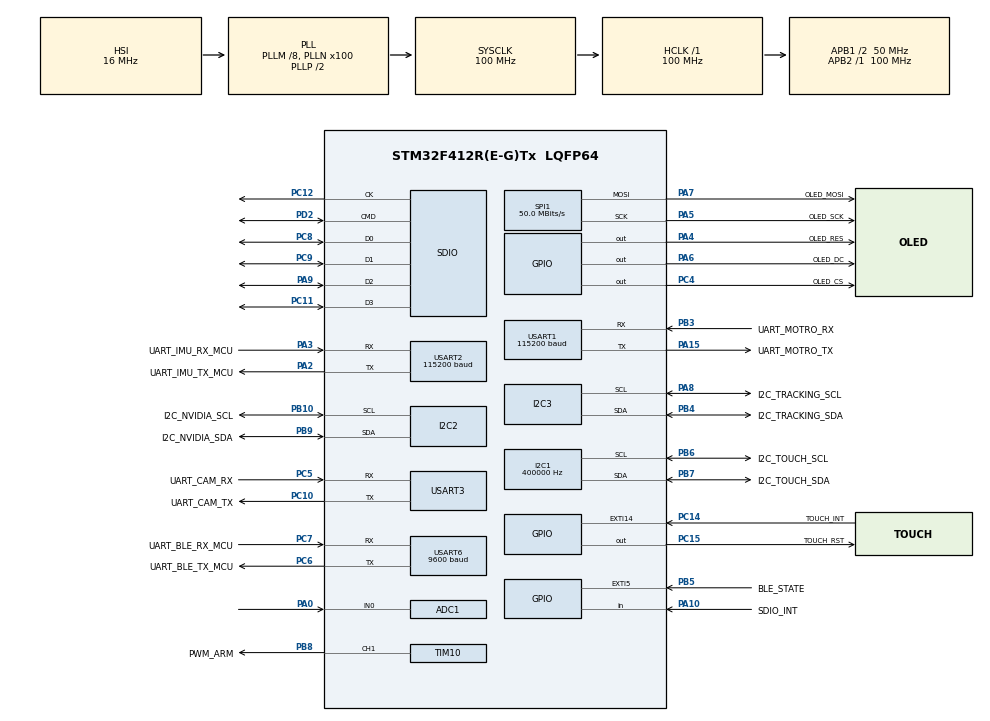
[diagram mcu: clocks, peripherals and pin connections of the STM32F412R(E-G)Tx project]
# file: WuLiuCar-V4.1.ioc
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ADC1.Channel-0\#ChannelRegularConversion=ADC_CHANNEL_0
ADC1.InjNumberOfConversion=0
ADC1.NbrOfConversion=1
ADC1.NbrOfConversionFlag=1
ADC1.Rank-0\#ChannelRegularConversion=1
ADC1.SamplingTime-0\#ChannelRegularConversion=ADC_SAMPLETIME_3CYCLES
ADC1.master=1
Dma.I2C3_RX.5.Direction=DMA_PERIPH_TO_MEMORY
Dma.I2C3_RX.5.FIFOMode=DMA_FIFOMODE_DISABLE
Dma.I2C3_RX.5.Instance=DMA1_Stream1
Dma.I2C3_RX.5.MemDataAlignment=DMA_MDATAALIGN_BYTE
Dma.I2C3_RX.5.MemInc=DMA_MINC_ENABLE
Dma.I2C3_RX.5.Mode=DMA_NORMAL
Dma.I2C3_RX.5.PeriphDataAlignment=DMA_PDATAALIGN_BYTE
Dma.I2C3_RX.5.PeriphInc=DMA_PINC_DISABLE
Dma.I2C3_RX.5.Priority=DMA_PRIORITY_LOW
Dma.I2C3_TX.6.Direction=DMA_MEMORY_TO_PERIPH
Dma.I2C3_TX.6.FIFOMode=DMA_FIFOMODE_DISABLE
Dma.I2C3_TX.6.Instance=DMA1_Stream4
Dma.I2C3_TX.6.MemDataAlignment=DMA_MDATAALIGN_BYTE
Dma.I2C3_TX.6.MemInc=DMA_MINC_ENABLE
Dma.I2C3_TX.6.Mode=DMA_NORMAL
Dma.I2C3_TX.6.PeriphDataAlignment=DMA_PDATAALIGN_BYTE
Dma.I2C3_TX.6.PeriphInc=DMA_PINC_DISABLE
Dma.I2C3_TX.6.Priority=DMA_PRIORITY_LOW
Dma.Request0=SPI1_TX
Dma.Request1=USART6_RX
Dma.Request2=USART6_TX
Dma.Request3=USART2_RX
Dma.Request4=SDIO
Dma.Request5=I2C3_RX
Dma.Request6=I2C3_TX
Dma.Request7=USART1_RX
Dma.Request8=USART1_TX
Dma.SDIO.4.Direction=DMA_PERIPH_TO_MEMORY
Dma.SDIO.4.FIFOMode=DMA_FIFOMODE_ENABLE
Dma.SDIO.4.FIFOThreshold=DMA_FIFO_THRESHOLD_FULL
Dma.SDIO.4.Instance=DMA2_Stream3
Dma.SDIO.4.MemBurst=DMA_MBURST_INC4
Dma.SDIO.4.MemDataAlignment=DMA_MDATAALIGN_WORD
Dma.SDIO.4.MemInc=DMA_MINC_ENABLE
Dma.SDIO.4.Mode=DMA_PFCTRL
Dma.SDIO.4.PeriphBurst=DMA_PBURST_INC4
Dma.SDIO.4.PeriphDataAlignment=DMA_PDATAALIGN_WORD
Dma.SDIO.4.PeriphInc=DMA_PINC_DISABLE
Dma.SDIO.4.Priority=DMA_PRIORITY_LOW
Dma.SPI1_TX.0.Direction=DMA_MEMORY_TO_PERIPH
Dma.SPI1_TX.0.FIFOMode=DMA_FIFOMODE_DISABLE
Dma.SPI1_TX.0.Instance=DMA2_Stream2
Dma.SPI1_TX.0.MemDataAlignment=DMA_MDATAALIGN_HALFWORD
Dma.SPI1_TX.0.MemInc=DMA_MINC_ENABLE
Dma.SPI1_TX.0.Mode=DMA_NORMAL
Dma.SPI1_TX.0.PeriphDataAlignment=DMA_PDATAALIGN_HALFWORD
Dma.SPI1_TX.0.PeriphInc=DMA_PINC_DISABLE
Dma.SPI1_TX.0.Priority=DMA_PRIORITY_LOW
Dma.USART1_RX.7.Direction=DMA_PERIPH_TO_MEMORY
Dma.USART1_RX.7.FIFOMode=DMA_FIFOMODE_DISABLE
Dma.USART1_RX.7.Instance=DMA2_Stream5
Dma.USART1_RX.7.MemDataAlignment=DMA_MDATAALIGN_BYTE
Dma.USART1_RX.7.MemInc=DMA_MINC_ENABLE
Dma.USART1_RX.7.Mode=DMA_NORMAL
Dma.USART1_RX.7.PeriphDataAlignment=DMA_PDATAALIGN_BYTE
Dma.USART1_RX.7.PeriphInc=DMA_PINC_DISABLE
Dma.USART1_RX.7.Priority=DMA_PRIORITY_VERY_HIGH
Dma.USART1_TX.8.Direction=DMA_MEMORY_TO_PERIPH
Dma.USART1_TX.8.FIFOMode=DMA_FIFOMODE_DISABLE
Dma.USART1_TX.8.Instance=DMA2_Stream7
Dma.USART1_TX.8.MemDataAlignment=DMA_MDATAALIGN_BYTE
Dma.USART1_TX.8.MemInc=DMA_MINC_ENABLE
Dma.USART1_TX.8.Mode=DMA_NORMAL
Dma.USART1_TX.8.PeriphDataAlignment=DMA_PDATAALIGN_BYTE
Dma.USART1_TX.8.PeriphInc=DMA_PINC_DISABLE
Dma.USART1_TX.8.Priority=DMA_PRIORITY_VERY_HIGH
Dma.USART2_RX.3.Direction=DMA_PERIPH_TO_MEMORY
Dma.USART2_RX.3.FIFOMode=DMA_FIFOMODE_DISABLE
Dma.USART2_RX.3.Instance=DMA1_Stream5
Dma.USART2_RX.3.MemDataAlignment=DMA_MDATAALIGN_BYTE
Dma.USART2_RX.3.MemInc=DMA_MINC_ENABLE
Dma.USART2_RX.3.Mode=DMA_CIRCULAR
Dma.USART2_RX.3.PeriphDataAlignment=DMA_PDATAALIGN_BYTE
Dma.USART2_RX.3.PeriphInc=DMA_PINC_DISABLE
Dma.USART2_RX.3.Priority=DMA_PRIORITY_LOW
Dma.USART6_RX.1.Direction=DMA_PERIPH_TO_MEMORY
Dma.USART6_RX.1.FIFOMode=DMA_FIFOMODE_DISABLE
Dma.USART6_RX.1.Instance=DMA2_Stream1
Dma.USART6_RX.1.MemDataAlignment=DMA_MDATAALIGN_BYTE
Dma.USART6_RX.1.MemInc=DMA_MINC_ENABLE
Dma.USART6_RX.1.Mode=DMA_NORMAL
Dma.USART6_RX.1.PeriphDataAlignment=DMA_PDATAALIGN_BYTE
Dma.USART6_RX.1.PeriphInc=DMA_PINC_DISABLE
Dma.USART6_RX.1.Priority=DMA_PRIORITY_LOW
Dma.USART6_TX.2.Direction=DMA_MEMORY_TO_PERIPH
Dma.USART6_TX.2.FIFOMode=DMA_FIFOMODE_DISABLE
Dma.USART6_TX.2.Instance=DMA2_Stream6
Dma.USART6_TX.2.MemDataAlignment=DMA_MDATAALIGN_BYTE
Dma.USART6_TX.2.MemInc=DMA_MINC_ENABLE
Dma.USART6_TX.2.Mode=DMA_NORMAL
Dma.USART6_TX.2.PeriphDataAlignment=DMA_PDATAALIGN_BYTE
Dma.USART6_TX.2.PeriphInc=DMA_PINC_DISABLE
Dma.USART6_TX.2.Priority=DMA_PRIORITY_LOW
FATFS.BSP.number=1
FATFS.USE_DMA_CODE_SD=1
FATFS._CODE_PAGE=437
FATFS._MAX_SS=4096
FATFS._USE_LFN=2
FATFS0.BSP.STBoard=false
FATFS0.BSP.api=Unknown
FATFS0.BSP.instance=PA10
FATFS0.BSP.ip=GPIO
FATFS0.BSP.mode=Input
FATFS0.BSP.name=Detect_SDIO
FATFS0.BSP.solution=PA10
I2C1.ClockSpeed=400000
I2C1.I2C_Mode=I2C_Fast
Mcu.Family=STM32F4
Mcu.Name=STM32F412R(E-G)Tx
Mcu.Package=LQFP64
NVIC.DMA1_Stream1_IRQn=true\:10\:0\:true\:false\:true\:false\:true\:true
NVIC.DMA1_Stream4_IRQn=true\:10\:0\:true\:false\:true\:false\:true\:true
NVIC.DMA1_Stream5_IRQn=true\:13\:0\:true\:false\:true\:false\:true\:true
NVIC.DMA2_Stream1_IRQn=true\:12\:0\:true\:false\:true\:false\:true\:true
NVIC.DMA2_Stream2_IRQn=true\:14\:0\:true\:false\:true\:false\:true\:true
NVIC.DMA2_Stream3_IRQn=true\:14\:0\:true\:false\:true\:false\:true\:true
NVIC.DMA2_Stream5_IRQn=true\:1\:0\:true\:false\:true\:false\:true\:true
NVIC.DMA2_Stream6_IRQn=true\:12\:0\:true\:false\:true\:false\:true\:true
NVIC.DMA2_Stream7_IRQn=true\:1\:0\:true\:false\:true\:false\:true\:true
NVIC.EXTI15_10_IRQn=true\:14\:0\:true\:false\:true\:true\:true\:true
NVIC.EXTI9_5_IRQn=true\:11\:0\:true\:false\:true\:true\:true\:true
NVIC.I2C3_ER_IRQn=true\:10\:0\:true\:false\:true\:true\:true\:true
NVIC.I2C3_EV_IRQn=true\:10\:0\:true\:false\:true\:true\:true\:true
NVIC.PriorityGroup=NVIC_PRIORITYGROUP_4
NVIC.SDIO_IRQn=true\:14\:0\:true\:false\:true\:true\:true\:true
NVIC.TIM1_BRK_TIM9_IRQn=true\:1\:0\:true\:false\:true\:true\:true\:true
NVIC.TIM1_TRG_COM_TIM11_IRQn=true\:1\:0\:true\:false\:true\:true\:true\:true
NVIC.TIM3_IRQn=true\:14\:0\:true\:false\:true\:true\:true\:true
NVIC.TIM4_IRQn=true\:1\:0\:true\:false\:true\:true\:true\:true
NVIC.TIM5_IRQn=true\:12\:0\:true\:false\:true\:true\:true\:true
NVIC.TIM6_IRQn=true\:10\:0\:true\:false\:true\:true\:true\:true
NVIC.TIM7_IRQn=true\:1\:0\:true\:false\:true\:true\:true\:true
NVIC.TIM8_TRG_COM_TIM14_IRQn=true\:15\:0\:true\:false\:true\:true\:true\:true
NVIC.USART1_IRQn=true\:1\:0\:true\:false\:true\:true\:true\:true
NVIC.USART6_IRQn=true\:12\:0\:true\:false\:true\:true\:true\:true
PA0.Signal=ADCx_IN0
PA10.GPIO_Label=SDIO_INT
PA10.GPIO_PuPd=GPIO_PULLUP
PA10.Signal=GPIO_Input
PA13.Mode=Serial_Wire
PA13.Signal=SYS_JTMS-SWDIO
PA14.Mode=Serial_Wire
PA14.Signal=SYS_JTCK-SWCLK
PA15.GPIO_Label=UART_MOTRO_TX
PA15.GPIO_PuPd=GPIO_PULLUP
PA15.GPIO_Speed=GPIO_SPEED_FREQ_VERY_HIGH
PA15.Mode=Asynchronous
PA15.Signal=USART1_TX
PA2.GPIO_Label=UART_IMU_TX_MCU
PA2.GPIO_PuPd=GPIO_PULLUP
PA2.Mode=Asynchronous
PA2.Signal=USART2_TX
PA3.GPIO_Label=UART_IMU_RX_MCU
PA3.GPIO_PuPd=GPIO_PULLUP
PA3.Mode=Asynchronous
PA3.Signal=USART2_RX
PA4.GPIO_Label=OLED_RES
PA4.GPIO_ModeDefaultOutputPP=GPIO_MODE_OUTPUT_PP
PA4.GPIO_PuPd=GPIO_PULLUP
PA4.GPIO_Speed=GPIO_SPEED_FREQ_LOW
PA4.PinState=GPIO_PIN_RESET
PA4.Signal=GPIO_Output
PA5.GPIO_Label=OLED_SCK
PA5.Mode=TX_Only_Simplex_Unidirect_Master
PA5.Signal=SPI1_SCK
PA6.GPIO_Label=OLED_DC
PA6.GPIO_ModeDefaultOutputPP=GPIO_MODE_OUTPUT_PP
PA6.GPIO_PuPd=GPIO_PULLUP
PA6.GPIO_Speed=GPIO_SPEED_FREQ_VERY_HIGH
PA6.PinState=GPIO_PIN_SET
PA6.Signal=GPIO_Output
PA7.GPIO_Label=OLED_MOSI
PA7.Mode=TX_Only_Simplex_Unidirect_Master
PA7.Signal=SPI1_MOSI
PA8.GPIO_Label=I2C_TRACKING_SCL
PA8.GPIO_Pu=GPIO_PULLUP
PA8.Mode=I2C
PA8.Signal=I2C3_SCL
PA9.GPIO_PuPd=GPIO_PULLUP
PA9.Mode=SD_4_bits_Wide_bus
PA9.Signal=SDIO_D2
PB10.GPIO_Label=I2C_NVIDIA_SCL
PB10.GPIO_Pu=GPIO_PULLUP
PB10.Mode=I2C
PB10.Signal=I2C2_SCL
PB3.GPIO_Label=UART_MOTRO_RX
PB3.GPIO_PuPd=GPIO_PULLUP
PB3.GPIO_Speed=GPIO_SPEED_FREQ_VERY_HIGH
PB3.Mode=Asynchronous
PB3.Signal=USART1_RX
PB4.GPIO_Label=I2C_TRACKING_SDA
PB4.GPIO_Pu=GPIO_PULLUP
PB4.Mode=I2C
PB4.Signal=I2C3_SDA
PB5.GPIO_Label=BLE_STATE
PB5.GPIO_ModeDefaultEXTI=GPIO_MODE_IT_RISING_FALLING
PB5.Signal=GPXTI5
PB6.GPIO_Label=I2C_TOUCH_SCL
PB6.GPIO_Pu=GPIO_NOPULL
PB6.Mode=I2C
PB6.Signal=I2C1_SCL
PB7.GPIO_Label=I2C_TOUCH_SDA
PB7.GPIO_Pu=GPIO_NOPULL
PB7.Mode=I2C
PB7.Signal=I2C1_SDA
PB8.GPIO_Label=PWM_ARM
PB8.Signal=S_TIM10_CH1
PB9.GPIO_Label=I2C_NVIDIA_SDA
PB9.GPIO_Pu=GPIO_PULLUP
PB9.Mode=I2C
PB9.Signal=I2C2_SDA
PC10.GPIO_Label=UART_CAM_TX
PC10.GPIO_PuPd=GPIO_PULLUP
PC10.GPIO_Speed=GPIO_SPEED_FREQ_VERY_HIGH
PC10.Mode=Asynchronous
PC10.Signal=USART3_TX
PC11.GPIO_PuPd=GPIO_PULLUP
PC11.Mode=SD_4_bits_Wide_bus
PC11.Signal=SDIO_D3
PC12.GPIO_PuPd=GPIO_PULLUP
PC12.Mode=SD_4_bits_Wide_bus
PC12.Signal=SDIO_CK
PC14-OSC32_IN.GPIO_Label=TOUCH_INT
PC14-OSC32_IN.GPIO_ModeDefaultEXTI=GPIO_MODE_IT_FALLING
PC14-OSC32_IN.Signal=GPXTI14
PC15-OSC32_OUT.GPIO_Label=TOUCH_RST
PC15-OSC32_OUT.GPIO_PuPd=GPIO_PULLUP
PC15-OSC32_OUT.Signal=GPIO_Output
PC4.GPIO_Label=OLED_CS
PC4.GPIO_PuPd=GPIO_PULLUP
PC4.GPIO_Speed=GPIO_SPEED_FREQ_VERY_HIGH
PC4.PinState=GPIO_PIN_SET
PC4.Signal=GPIO_Output
PC5.GPIO_Label=UART_CAM_RX
PC5.GPIO_PuPd=GPIO_PULLUP
PC5.GPIO_Speed=GPIO_SPEED_FREQ_VERY_HIGH
PC5.Mode=Asynchronous
PC5.Signal=USART3_RX
PC6.GPIO_Label=UART_BLE_TX_MCU
PC6.GPIO_PuPd=GPIO_PULLUP
PC6.GPIO_Speed=GPIO_SPEED_FREQ_VERY_HIGH
PC6.Mode=Asynchronous
PC6.Signal=USART6_TX
PC7.GPIO_Label=UART_BLE_RX_MCU
PC7.GPIO_PuPd=GPIO_PULLUP
PC7.GPIO_Speed=GPIO_SPEED_FREQ_VERY_HIGH
PC7.Mode=Asynchronous
PC7.Signal=USART6_RX
PC8.GPIO_PuPd=GPIO_PULLUP
PC8.Mode=SD_4_bits_Wide_bus
PC8.Signal=SDIO_D0
PC9.GPIO_PuPd=GPIO_PULLUP
PC9.Mode=SD_4_bits_Wide_bus
PC9.Signal=SDIO_D1
PD2.GPIO_PuPd=GPIO_PULLUP
PD2.Mode=SD_4_bits_Wide_bus
PD2.Signal=SDIO_CMD
PH0\ -\ OSC_IN.Mode=HSE-External-Oscillator
PH0\ -\ OSC_IN.Signal=RCC_OSC_IN
PH1\ -\ OSC_OUT.Mode=HSE-External-Oscillator
PH1\ -\ OSC_OUT.Signal=RCC_OSC_OUT
ProjectManager.HeapSize=0x4000
ProjectManager.StackSize=0x4000
ProjectManager.TargetToolchain=MDK-ARM V5.32
RCC.AHBFreq_Value=100000000
RCC.APB1CLKDivider=RCC_HCLK_DIV2
RCC.APB1Freq_Value=50000000
RCC.APB1TimFreq_Value=100000000
RCC.APB2Freq_Value=100000000
RCC.APB2TimFreq_Value=100000000
RCC.CortexFreq_Value=100000000
RCC.HCLKFreq_Value=100000000
RCC.PLLM=8
RCC.PLLN=100
RCC.PLLQ=4
RCC.SYSCLKFreq_VALUE=100000000
RCC.SYSCLKSource=RCC_SYSCLKSOURCE_PLLCLK
RCC.USBFreq_Value=50000000
RCC.VCOOutputFreq_Value=200000000
SDIO.ClockDiv=0
SH.ADCx_IN0.0=ADC1_IN0,IN0
SH.S_TIM10_CH1.0=TIM10_CH1,PWM Generation1 CH1
SPI1.BaudRatePrescaler=SPI_BAUDRATEPRESCALER_2
SPI1.CalculateBaudRate=50.0 MBits/s
SPI1.Direction=SPI_DIRECTION_2LINES
SPI1.Mode=SPI_MODE_MASTER
SPI1.VirtualType=VM_MASTER
STMicroelectronics.X-CUBE-ALGOBUILD.1.3.0.LibraryCcDSPOoLibraryJjDSPOoLibrary=true
TIM10.AutoReloadPreload=TIM_AUTORELOAD_PRELOAD_ENABLE
TIM10.Channel=TIM_CHANNEL_1
TIM10.Period=2000-1
TIM10.Prescaler=1000-1
TIM11.AutoReloadPreload=TIM_AUTORELOAD_PRELOAD_ENABLE
TIM11.Period=4000-1
TIM11.Prescaler=50000-1
TIM12.AutoReloadPreload=TIM_AUTORELOAD_PRELOAD_ENABLE
TIM13.AutoReloadPreload=TIM_AUTORELOAD_PRELOAD_ENABLE
TIM13.Prescaler=10000-1
TIM14.AutoReloadPreload=TIM_AUTORELOAD_PRELOAD_ENABLE
TIM14.ClockDivision=TIM_CLOCKDIVISION_DIV1
TIM14.Period=2000-1
TIM14.Prescaler=50000-1
TIM3.AutoReloadPreload=TIM_AUTORELOAD_PRELOAD_ENABLE
TIM3.Period=1000-1
TIM3.Prescaler=100-1
TIM4.AutoReloadPreload=TIM_AUTORELOAD_PRELOAD_ENABLE
TIM4.Period=50000-1
TIM4.Prescaler=200-1
TIM5.AutoReloadPreload=TIM_AUTORELOAD_PRELOAD_ENABLE
TIM5.Period=100-1
TIM5.Prescaler=10000-1
TIM6.AutoReloadPreload=TIM_AUTORELOAD_PRELOAD_ENABLE
TIM6.Period=1000-1
TIM6.Prescaler=1000-1
TIM7.AutoReloadPreload=TIM_AUTORELOAD_PRELOAD_ENABLE
TIM7.Period=4000-1
TIM7.Prescaler=50000-1
TIM9.AutoReloadPreload=TIM_AUTORELOAD_PRELOAD_ENABLE
TIM9.Period=4000-1
TIM9.Prescaler=50000-1
USART1.BaudRate=115200
USART1.VirtualMode=VM_ASYNC
USART2.BaudRate=115200
USART2.VirtualMode=VM_ASYNC
USART3.VirtualMode=VM_ASYNC
USART6.BaudRate=9600
USART6.VirtualMode=VM_ASYNC
VP_FATFS_VS_SDIO.Mode=SDIO
VP_STMicroelectronics.X-CUBE-ALGOBUILD_VS_DSPOoLibraryJjLibrary_1.3.0_1.3.0.Mode=DSPOoLibraryJjLibrary
VP_TIM10_VS_ClockSourceINT.Mode=Enable_Timer
VP_TIM11_VS_ClockSourceINT.Mode=Enable_Timer
VP_TIM12_VS_ClockSourceINT.Mode=Internal
VP_TIM13_VS_ClockSourceINT.Mode=Enable_Timer
VP_TIM14_VS_ClockSourceINT.Mode=Enable_Timer
VP_TIM3_VS_ClockSourceINT.Mode=Internal
VP_TIM4_VS_ClockSourceINT.Mode=Internal
VP_TIM5_VS_ClockSourceINT.Mode=Internal
VP_TIM6_VS_ClockSourceINT.Mode=Enable_Timer
VP_TIM7_VS_ClockSourceINT.Mode=Enable_Timer
VP_TIM9_VS_ClockSourceINT.Mode=Internal
board=custom

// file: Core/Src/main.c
/* USER CODE BEGIN Header */
/**
  ******************************************************************************
  * @file           : main.c
  * @brief          : Main program body
  ******************************************************************************
  * @attention
  *
  * Copyright (c) 2022 STMicroelectronics.
  * All rights reserved.
  *
  * This software is licensed under terms that can be found in the LICENSE file
  * in the root directory of this software component.
  * If no LICENSE file comes with this software, it is provided AS-IS.
  *
  ******************************************************************************
  */
/* USER CODE END Header */
#include "main.h"
#include "adc.h"
#include "dma.h"
#include "fatfs.h"
#include "i2c.h"
#include "sdio.h"
#include "spi.h"
#include "tim.h"
#include "usart.h"
#include "gpio.h"

/* USER CODE BEGIN Includes */
#include <ST7789V.h>
#include <GT911.h>
#include "stdio.h"
#include "lvgl.h"
#include "lv_port_disp.h"
#include "lv_port_indev.h"
#include "lv_port_fs.h"
#include "lv_app.h"
#include "imu.h"
#include "ble.h"
#include "wheel.h"
#include "Arm.h"
#include "Tracking.h"
#include "Battery.h"
#include "Motro_Control.h"
/* USER CODE END Includes */

void SystemClock_Config(void);

/* USER CODE BEGIN 0 */
void HAL_GPIO_EXTI_Callback(uint16_t GPIO_Pin)
{
  if(GPIO_Pin == TOUCH_INT_Pin)
  {
		gt911_Scanf();
	}
  else if(GPIO_Pin == BLE_STATE_Pin)
  {
    BLE_State_Display();
  }
}

void HAL_TIM_PeriodElapsedCallback(TIM_HandleTypeDef *htim)
{
	if(htim == &htim3)
	{
		lv_tick_inc(1);
	}
	else if(htim == &htim4)
	{
    Motro_UART_Timeout();
	}
  else if(htim == &htim5)
  {
    BLE_Arm.Control_Sign = true;
  }
	else if(htim == &htim6)
	{
    Tracking_Transmit();
		if(Arm.debug_sign)
    {
			//Arm_Angle_Check();
			//Arm_Encoder_Check();
    }
	}
	else if(htim == &htim14)
	{
		Battery.Tese_Sign = true;
	}

  Motor_Position_TIM_IT(htim);
}

void HAL_I2C_MasterTxCpltCallback(I2C_HandleTypeDef *hi2c)
{
  if(hi2c == &hi2c3)
  {
    Tracking_Receive();
  }
}

void HAL_I2C_ErrorCallback(I2C_HandleTypeDef *hi2c)
{
  if(hi2c == &hi2c3)
  {
    Tracking_ErrorCallback(hi2c);
  }
}

// void HAL_UART_TxCpltCallback(UART_HandleTypeDef *huart)
// {
//   if(huart == &huart1)
//   {
//     // Motro_UART_Transmit_IT();
//   }
// }

// void HAL_UART_RxCpltCallback(UART_HandleTypeDef *huart)
// {
//   if(huart == &huart1)
//   {
//     // Motro_UART_Receive_IT();
//   }
// }
/* USER CODE END 0 */

int main(void)
{

  /* MCU Configuration--------------------------------------------------------*/

  /* Reset of all peripherals, Initializes the Flash interface and the Systick. */
  HAL_Init();

  /* Configure the system clock */
  SystemClock_Config();

  /* Initialize all configured peripherals */
  MX_GPIO_Init();
  MX_DMA_Init();
  MX_I2C1_Init();
  MX_I2C2_Init();
  MX_I2C3_Init();
  MX_SPI1_Init();
  MX_USART1_UART_Init();
  MX_USART2_UART_Init();
  MX_USART3_UART_Init();
  MX_USART6_UART_Init();
  MX_TIM10_Init();
  MX_TIM3_Init();
  MX_TIM14_Init();
  MX_ADC1_Init();
  MX_SDIO_SD_Init();
  MX_FATFS_Init();
  MX_TIM6_Init();
  MX_TIM4_Init();
  MX_TIM13_Init();
  MX_TIM7_Init();
  MX_TIM9_Init();
  MX_TIM11_Init();
  MX_TIM12_Init();
  MX_TIM5_Init();
  /* USER CODE BEGIN 2 */
	///////////////////////////////////   LVGL时钟   /////////////////////////////////
	HAL_TIM_Base_Start_IT(&htim3);
  ///////////////////////////////////   机械臂计算初始化   ///////////////////////////
  Arm_Angle_Calculate_Init();
  /////////////////////////////////    LVGL_INIT  ///////////////////////////////
	lv_init();
	lv_port_disp_init();
	lv_port_indev_init();
  lv_fs_fatfs_init();
	lv_demo_myself();
  ///////////////////////////////////   电量棿测时钿   /////////////////////////////////
	HAL_ADC_Start(&hadc1);
	HAL_TIM_Base_Start_IT(&htim14);
  //////////////////////////////////   Motro_Control_Init   ///////////////////////////////
  HAL_Delay(1000);
  Motro_Control_Init();
  __HAL_TIM_CLEAR_IT(&htim4, TIM_IT_UPDATE); /*清楚中断标志，防止直接进入中�??????*/
  __HAL_UART_ENABLE_IT(&huart1, UART_IT_IDLE);
  HAL_UART_Receive_DMA(&huart1, Motro_Control.UART.receive, Motro_UART_Buffer);
  //////////////////////////////////   ARM_Init   ///////////////////////////////
  __HAL_TIM_CLEAR_IT(&htim7, TIM_IT_UPDATE);
  __HAL_TIM_CLEAR_IT(&htim9, TIM_IT_UPDATE);
  __HAL_TIM_CLEAR_IT(&htim11, TIM_IT_UPDATE);
  Arm_Init();
  ////////////////////////////////   Wheel_Init   ///////////////////////////////
  Wheel_Init();
  ////////////////////////////////////////////    IMU_Init ///////////////////////
  IMU_Init();
	HAL_UART_Receive_DMA(&huart2,(uint8_t*)imu_uart.receive,imu_uart_buffer);
  //////////////////////////////////////////////    BLE_Init ///////////////////////
  BLE_Init();
  __HAL_UART_ENABLE_IT(&huart6, UART_IT_IDLE);
	HAL_UART_Receive_DMA(&huart6,(uint8_t*)ble_uart.receive,ble_uart_buffer);
  ///////////////////////////////   循迹模块时钟   /////////////////////////////////
  __HAL_TIM_CLEAR_IT(&htim6, TIM_IT_UPDATE);
  HAL_TIM_Base_Start_IT(&htim6);
  // //////////////////////////////////   PID频率�????�????   ///////////////////////////////
  // __HAL_TIM_CLEAR_IT(&htim13, TIM_IT_UPDATE);
  // HAL_TIM_Base_Start(&htim13);
  //////////////////////////////////   蓝牙控制时钟   ///////////////////////////////
  __HAL_TIM_CLEAR_IT(&htim5, TIM_IT_UPDATE);
  //////////////////////////////////       PWM       ///////////////////////////////
  HAL_TIM_PWM_Start(&htim10,TIM_CHANNEL_1);
  /* USER CODE END 2 */

  /* Infinite loop */
  /* USER CODE BEGIN WHILE */

  while (1)
  {
		lv_task_handler();
    BLE_control();
    BLE_Arm_Control();
    IMU_Charting();
    PID_Charting();
    Tracking_Draw();
		Battery_Test();
    Motro_Control_Text();
    Arm_Symbol_Refresh();
    /* USER CODE END WHILE */

  }
}

void SystemClock_Config(void)
{
  RCC_OscInitTypeDef RCC_OscInitStruct = {0};
  RCC_ClkInitTypeDef RCC_ClkInitStruct = {0};

  /** Configure the main internal regulator output voltage
  */
  __HAL_RCC_PWR_CLK_ENABLE();
  __HAL_PWR_VOLTAGESCALING_CONFIG(PWR_REGULATOR_VOLTAGE_SCALE1);

  /** Initializes the RCC Oscillators according to the specified parameters
  * in the RCC_OscInitTypeDef structure.
  */
  RCC_OscInitStruct.OscillatorType = RCC_OSCILLATORTYPE_HSI;
  RCC_OscInitStruct.HSIState = RCC_HSI_ON;
  RCC_OscInitStruct.HSICalibrationValue = RCC_HSICALIBRATION_DEFAULT;
  RCC_OscInitStruct.PLL.PLLState = RCC_PLL_ON;
  RCC_OscInitStruct.PLL.PLLSource = RCC_PLLSOURCE_HSI;
  RCC_OscInitStruct.PLL.PLLM = 8;
  RCC_OscInitStruct.PLL.PLLN = 100;
  RCC_OscInitStruct.PLL.PLLP = RCC_PLLP_DIV2;
  RCC_OscInitStruct.PLL.PLLQ = 4;
  RCC_OscInitStruct.PLL.PLLR = 2;
  if (HAL_RCC_OscConfig(&RCC_OscInitStruct) != HAL_OK)
  {
    Error_Handler();
  }

  /** Initializes the CPU, AHB and APB buses clocks
  */
  RCC_ClkInitStruct.ClockType = RCC_CLOCKTYPE_HCLK|RCC_CLOCKTYPE_SYSCLK
                              |RCC_CLOCKTYPE_PCLK1|RCC_CLOCKTYPE_PCLK2;
  RCC_ClkInitStruct.SYSCLKSource = RCC_SYSCLKSOURCE_PLLCLK;
  RCC_ClkInitStruct.AHBCLKDivider = RCC_SYSCLK_DIV1;
  RCC_ClkInitStruct.APB1CLKDivider = RCC_HCLK_DIV2;
  RCC_ClkInitStruct.APB2CLKDivider = RCC_HCLK_DIV1;

  if (HAL_RCC_ClockConfig(&RCC_ClkInitStruct, FLASH_LATENCY_3) != HAL_OK)
  {
    Error_Handler();
  }
}

void Error_Handler(void)
{
  __disable_irq();
  while (1)
  {
  }
}
